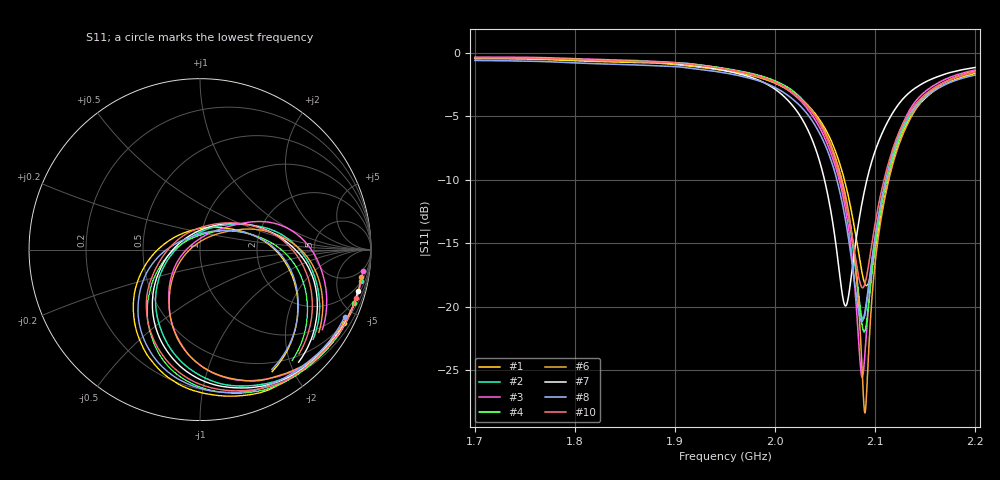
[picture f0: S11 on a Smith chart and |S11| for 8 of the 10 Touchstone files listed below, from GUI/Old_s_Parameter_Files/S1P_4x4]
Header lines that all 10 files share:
# Hz S RI R 50
! CMT, CMT808U, 21440046, 21.4.3/4
! Data: Format (Calibration Info)
! Freq	S11:Re/Im(F2)
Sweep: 1.7 GHz to 2.2 GHz
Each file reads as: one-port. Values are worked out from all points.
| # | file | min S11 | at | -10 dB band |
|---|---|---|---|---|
| 1 | element4.s1p | -18.3 dB | 2.091 GHz | 43.83 MHz wide |
| 2 | element5.s1p | -21.0 dB | 2.088 GHz | 45.2 MHz wide |
| 3 | element7.s1p | -25.5 dB | 2.087 GHz | 47.43 MHz wide |
| 4 | element8.s1p | -22.0 dB | 2.089 GHz | 45.12 MHz wide |
| 5 | element10.s1p | -24.6 dB | 2.088 GHz | 45.73 MHz wide |
| 6 | element11.s1p | -28.3 dB | 2.09 GHz | 46.85 MHz wide |
| 7 | element13.s1p | -19.9 dB | 2.071 GHz | 42.38 MHz wide |
| 8 | element14.s1p | -21.1 dB | 2.087 GHz | 48.68 MHz wide |
| 9 | element15.s1p | -21.7 dB | 2.091 GHz | 47.27 MHz wide |
| 10 | element16.s1p | -18.5 dB | 2.087 GHz | 43.57 MHz wide |
